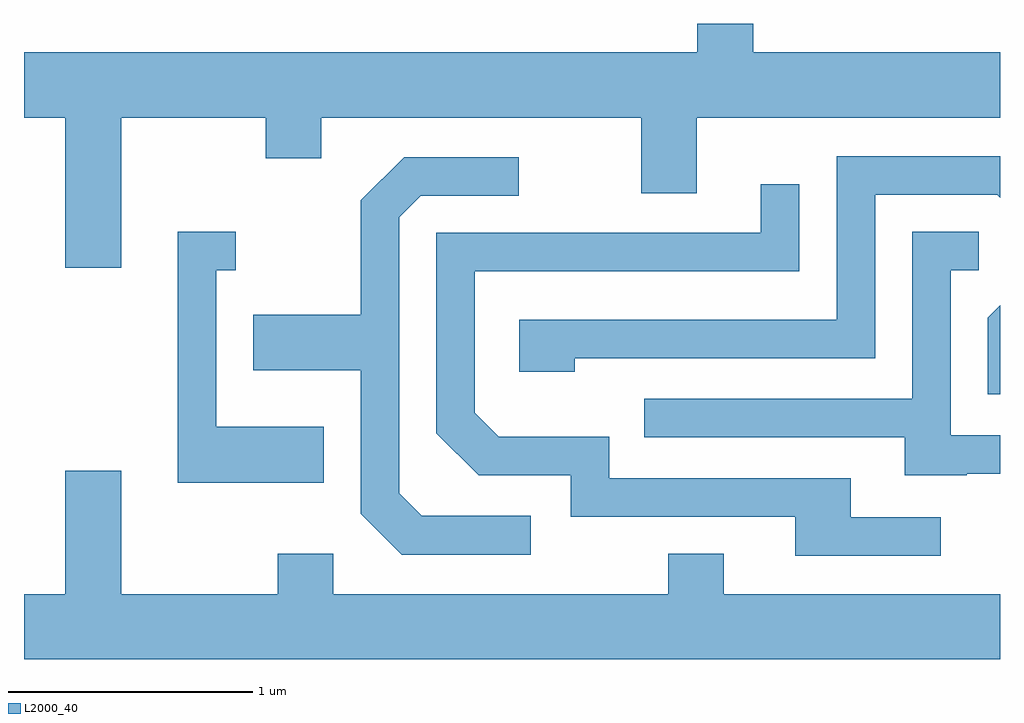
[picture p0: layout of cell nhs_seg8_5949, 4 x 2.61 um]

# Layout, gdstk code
import gdstk
lib = gdstk.Library(unit=1e-6, precision=1e-09)
def P(c, l, *ps):  # polygons
    for p in ps: c.add(gdstk.Polygon(p, *l))
L2000_40 = (2000, 40)

nhs_seg8_5949 = lib.new_cell('nhs_seg8_5949')
P(nhs_seg8_5949, L2000_40, [(364.009,1851.956),(364.601,1851.956),(364.601,1851.791),(364.829,1851.791),(364.829,1851.956),(366.141,1851.956),(366.141,1851.646),(366.369,1851.646),(366.369,1851.956),(367.611,1851.956),(367.611,1852.224),(366.599,1852.224),(366.599,1852.342),(366.371,1852.342),(366.371,1852.224),(363.611,1852.224),(363.611,1851.956),(363.781,1851.956),(363.781,1851.341),(364.009,1851.341)],
  [(365.869,1850.971),(367.099,1850.971),(367.099,1851.641),(367.599,1851.641),(367.611,1851.629),(367.611,1851.799),(366.941,1851.799),(366.941,1851.129),(365.641,1851.129),(365.641,1850.916),(365.869,1850.916)],
  [(365.688,1850.324),(365.242,1850.324),(365.149,1850.417),(365.149,1851.549),(365.237,1851.636),(365.638,1851.636),(365.638,1851.794),(365.169,1851.794),(364.991,1851.617),(364.991,1851.149),(364.551,1851.149),(364.551,1850.921),(364.991,1850.921),(364.991,1850.334),(365.159,1850.166),(365.688,1850.166)],
  [(367.368,1850.319),(366.999,1850.319),(366.999,1850.479),(366.009,1850.479),(366.009,1850.649),(365.557,1850.649),(365.459,1850.747),(365.459,1851.326),(366.789,1851.326),(366.789,1851.683),(366.631,1851.683),(366.631,1851.484),(365.301,1851.484),(365.301,1850.664),(365.474,1850.491),(365.851,1850.491),(365.851,1850.321),(366.771,1850.321),(366.771,1850.161),(367.368,1850.161)],
  [(364.839,1850.689),(364.399,1850.689),(364.399,1851.331),(364.478,1851.331),(364.478,1851.489),(364.241,1851.489),(364.241,1850.461),(364.839,1850.461)],
  [(367.475,1850.496),(367.611,1850.496),(367.611,1850.654),(367.409,1850.654),(367.409,1851.331),(367.523,1851.331),(367.523,1851.489),(367.251,1851.489),(367.251,1850.804),(366.153,1850.804),(366.153,1850.646),(367.221,1850.646),(367.221,1850.491),(367.475,1850.491)],
  [(367.611,1851.187),(367.561,1851.137),(367.561,1850.823),(367.611,1850.823)],
  [(367.611,1850.004),(366.479,1850.004),(366.479,1850.169),(366.251,1850.169),(366.251,1850.004),(364.879,1850.004),(364.879,1850.169),(364.651,1850.169),(364.651,1850.004),(364.009,1850.004),(364.009,1850.509),(363.781,1850.509),(363.781,1850.004),(363.611,1850.004),(363.611,1849.736),(367.611,1849.736)])

lib.write_gds('nhs_seg8_5949.gds')
